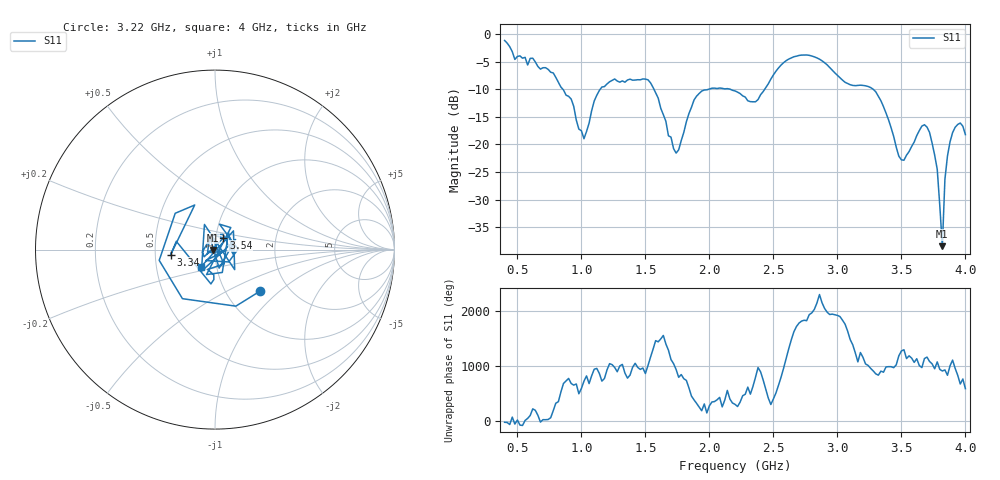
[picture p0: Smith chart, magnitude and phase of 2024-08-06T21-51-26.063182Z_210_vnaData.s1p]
!Created with skrf (http://scikit-rf.org).
# Hz S RI R 50.0
!freq ReS11 ImS11
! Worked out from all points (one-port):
!   181 points, 400 MHz to 4 GHz, reference 50 ohm
!   lowest |S11| = -38.5 dB at 3.82 GHz (marker M1), VSWR 1.02, Z = 48.8 - j0.19 ohm
!   |S11| at or under -10 dB: 855.9 MHz to 1.147 GHz (290.7 MHz wide, 29 % of centre); 1.567 GHz to 1.992 GHz (425 MHz wide, 23.9 % of centre); 3.28 GHz to end of sweep (the widest 3 of 4)
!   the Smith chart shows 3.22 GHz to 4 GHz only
!   S11 on the Smith chart (normalised r, x): 3.22 GHz: 1.43, -0.75; 3.34 GHz: 0.60, -0.04; 3.54 GHz: 1.09, +0.14; 4 GHz: 0.84, -0.16
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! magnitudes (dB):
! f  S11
! 400 MHz  -1.1
! 480 MHz  -4.6
! 620 MHz  -4.3
! 860 MHz  -10.1
! 1.02 GHz  -19.0
! 1.14 GHz  -10.2
! 1.3 GHz  -8.7
! 1.52 GHz  -8.3
! 1.72 GHz  -20.8
! 1.76 GHz  -21.0
! 1.9 GHz  -11.2
! 2.2 GHz  -10.3
! 2.36 GHz  -12.3
! 2.66 GHz  -4.1
! 3.1 GHz  -9.2
! 3.22 GHz  -9.4
! 3.34 GHz  -12.1
! 3.48 GHz  -22.1
! 3.54 GHz  -21.9
! 3.56 GHz  -21.3
! 3.66 GHz  -16.7
! 3.72 GHz  -17.8
! 3.78 GHz  -24.5
! 3.82 GHz  -38.5
! 3.84 GHz  -26.3
! 3.88 GHz  -19.5
! 3.96 GHz  -16.1
! 4 GHz  -18.2
